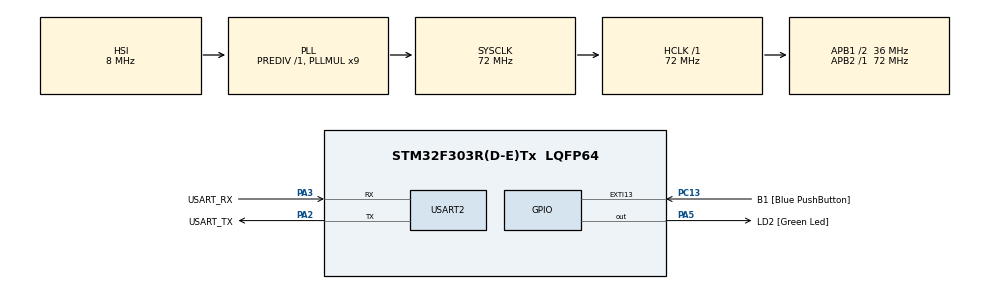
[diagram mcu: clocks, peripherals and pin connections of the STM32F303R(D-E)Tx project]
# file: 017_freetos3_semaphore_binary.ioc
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Mcu.Family=STM32F3
PC15-OSC32_OUT.Mode=LSE-External-Oscillator
PA2.GPIO_PuPd=GPIO_NOPULL
RCC.CortexFreq_Value=72000000
FREERTOS.Tasks01=normal,0,128,StartDefaultTask,Default,NULL,Dynamic,NULL,NULL;high,2,128,StartTask02,Default,NULL,Dynamic,NULL,NULL;low,-2,128,StartTask03,Default,NULL,Dynamic,NULL,NULL
FREERTOS.BinarySemaphores01=myBinarySem01,Dynamic,NULL
PC13.Signal=GPXTI13
PA14.GPIO_Label=TCK
RCC.SYSCLKSourceVirtual=RCC_SYSCLKSOURCE_PLLCLK
PA3.GPIO_PuPd=GPIO_NOPULL
PA2.GPIO_Speed=GPIO_SPEED_FREQ_LOW
PC13.GPIO_Label=B1 [Blue PushButton]
RCC.APB1CLKDivider=RCC_HCLK_DIV2
PC14-OSC32_IN.Signal=RCC_OSC32_IN
PA3.GPIO_Speed=GPIO_SPEED_FREQ_LOW
ProjectManager.StackSize=0x400
PA13.Signal=SYS_JTMS-SWDIO
PA3.Mode=Asynchronous
ProjectManager.TargetToolchain=STM32CubeIDE
PA3.GPIO_Mode=GPIO_MODE_AF_PP
RCC.HCLKFreq_Value=72000000
RCC.APB2TimFreq_Value=72000000
RCC.USBFreq_Value=72000000
PC15-OSC32_OUT.Signal=RCC_OSC32_OUT
RCC.AHBFreq_Value=72000000
PF0-OSC_IN.Mode=HSE-External-Oscillator
PA5.Signal=GPIO_Output
RCC.HSE_VALUE=8000000
board=NUCLEO-F303RE
USART2.VirtualMode-Asynchronous=VM_ASYNC
RCC.RCC_PLLsource_Clock_Source_FROM_HSE=RCC_HSE_PREDIV_DIV2
RCC.PLLMUL=RCC_PLL_MUL9
RCC.APB2Freq_Value=72000000
PC14-OSC32_IN.Mode=LSE-External-Oscillator
VP_SYS_VS_tim1.Mode=TIM1
PA5.GPIO_PuPd=GPIO_NOPULL
VP_FREERTOS_VS_CMSIS_V1.Mode=CMSIS_V1
Mcu.Name=STM32F303R(D-E)Tx
PA2.Signal=USART2_TX
PA13.GPIO_Label=TMS
PB3.Signal=SYS_JTDO-TRACESWO
RCC.SYSCLKFreq_VALUE=72000000
Mcu.Package=LQFP64
NVIC.TimeBase=TIM1_UP_TIM16_IRQn
PA5.GPIO_Label=LD2 [Green Led]
PC13.GPIO_ModeDefaultEXTI=GPIO_MODE_IT_FALLING
PA2.GPIO_Label=USART_TX
NVIC.TimeBaseIP=TIM1
PA14.Signal=SYS_JTCK-SWCLK
ProjectManager.HeapSize=0x200
RCC.HSI_VALUE=8000000
NVIC.TIM1_UP_TIM16_IRQn=true\:0\:0\:false\:false\:true\:false\:false\:true
RCC.PLLP=RCC_PLLP_DIV4
PA5.GPIO_Speed=GPIO_SPEED_FREQ_LOW
RCC.PLLQ=7
NVIC.PriorityGroup=NVIC_PRIORITYGROUP_4
RCC.PLLM=8
RCC.PLLN=336
RCC.APB1TimFreq_Value=72000000
PA2.Mode=Asynchronous
PF0-OSC_IN.Signal=RCC_OSC_IN
PF1-OSC_OUT.Mode=HSE-External-Oscillator
RCC.APB1Freq_Value=36000000
PA5.GPIO_Mode=GPIO_MODE_OUTPUT_PP
PF1-OSC_OUT.Signal=RCC_OSC_OUT
PA3.GPIO_Label=USART_RX
PA3.Signal=USART2_RX
PA2.GPIO_Mode=GPIO_MODE_AF_PP
PB3.GPIO_Label=SWO

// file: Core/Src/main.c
/*Açıklama:
  high task ta semophara girdi çıktı sonra medium da ki semaphoru başlattı ama
  semaphore bitmediği için high görevini devam ettirmedi butona bastırdığımızda
  semaphoru durduracak ve görev devam edicek*/

/* USER CODE BEGIN Header */
/**
  ******************************************************************************
  * @file           : main.c
  * @brief          : Main program body
  ******************************************************************************
  * @attention
  *
  * <h2><center>&copy; Copyright (c) 2021 STMicroelectronics.
  * All rights reserved.</center></h2>
  *
  * This software component is licensed by ST under BSD 3-Clause license,
  * the "License"; You may not use this file except in compliance with the
  * License. You may obtain a copy of the License at:
  *                        opensource.org/licenses/BSD-3-Clause
  *
  ******************************************************************************
  */
/* USER CODE END Header */
#include "main.h"
#include "cmsis_os.h"

UART_HandleTypeDef huart2;

osThreadId normalHandle;
osThreadId highHandle;
osThreadId lowHandle;
osSemaphoreId myBinarySem01Handle;

void SystemClock_Config(void);
static void MX_GPIO_Init(void);
static void MX_USART2_UART_Init(void);
void StartDefaultTask(void const * argument);
void StartTask02(void const * argument);
void StartTask03(void const * argument);

int main(void)
{

  /* MCU Configuration--------------------------------------------------------*/

  /* Reset of all peripherals, Initializes the Flash interface and the Systick. */
  HAL_Init();

  /* Configure the system clock */
  SystemClock_Config();

  /* Initialize all configured peripherals */
  MX_GPIO_Init();
  MX_USART2_UART_Init();

  /* Create the semaphores(s) */
  /* definition and creation of myBinarySem01 */
  osSemaphoreDef(myBinarySem01);
  myBinarySem01Handle = osSemaphoreCreate(osSemaphore(myBinarySem01), 1);

  /* Create the thread(s) */
  /* definition and creation of normal */
  osThreadDef(normal, StartDefaultTask, osPriorityNormal, 0, 128);
  normalHandle = osThreadCreate(osThread(normal), NULL);

  /* definition and creation of high */
  osThreadDef(high, StartTask02, osPriorityHigh, 0, 128);
  highHandle = osThreadCreate(osThread(high), NULL);

  /* definition and creation of low */
  osThreadDef(low, StartTask03, osPriorityLow, 0, 128);
  lowHandle = osThreadCreate(osThread(low), NULL);

  /* Start scheduler */
  osKernelStart();

  /* We should never get here as control is now taken by the scheduler */
  /* Infinite loop */
  while (1)
  {

  }
}

void SystemClock_Config(void)
{
  RCC_OscInitTypeDef RCC_OscInitStruct = {0};
  RCC_ClkInitTypeDef RCC_ClkInitStruct = {0};
  RCC_PeriphCLKInitTypeDef PeriphClkInit = {0};

  /** Initializes the RCC Oscillators according to the specified parameters
  * in the RCC_OscInitTypeDef structure.
  */
  RCC_OscInitStruct.OscillatorType = RCC_OSCILLATORTYPE_HSI;
  RCC_OscInitStruct.HSIState = RCC_HSI_ON;
  RCC_OscInitStruct.HSICalibrationValue = RCC_HSICALIBRATION_DEFAULT;
  RCC_OscInitStruct.PLL.PLLState = RCC_PLL_ON;
  RCC_OscInitStruct.PLL.PLLSource = RCC_PLLSOURCE_HSI;
  RCC_OscInitStruct.PLL.PLLMUL = RCC_PLL_MUL9;
  RCC_OscInitStruct.PLL.PREDIV = RCC_PREDIV_DIV1;
  if (HAL_RCC_OscConfig(&RCC_OscInitStruct) != HAL_OK)
  {
    Error_Handler();
  }
  /** Initializes the CPU, AHB and APB buses clocks
  */
  RCC_ClkInitStruct.ClockType = RCC_CLOCKTYPE_HCLK|RCC_CLOCKTYPE_SYSCLK
                              |RCC_CLOCKTYPE_PCLK1|RCC_CLOCKTYPE_PCLK2;
  RCC_ClkInitStruct.SYSCLKSource = RCC_SYSCLKSOURCE_PLLCLK;
  RCC_ClkInitStruct.AHBCLKDivider = RCC_SYSCLK_DIV1;
  RCC_ClkInitStruct.APB1CLKDivider = RCC_HCLK_DIV2;
  RCC_ClkInitStruct.APB2CLKDivider = RCC_HCLK_DIV1;

  if (HAL_RCC_ClockConfig(&RCC_ClkInitStruct, FLASH_LATENCY_2) != HAL_OK)
  {
    Error_Handler();
  }
  PeriphClkInit.PeriphClockSelection = RCC_PERIPHCLK_USART2;
  PeriphClkInit.Usart2ClockSelection = RCC_USART2CLKSOURCE_PCLK1;
  if (HAL_RCCEx_PeriphCLKConfig(&PeriphClkInit) != HAL_OK)
  {
    Error_Handler();
  }
}

static void MX_USART2_UART_Init(void)
{

  huart2.Instance = USART2;
  huart2.Init.BaudRate = 38400;
  huart2.Init.WordLength = UART_WORDLENGTH_8B;
  huart2.Init.StopBits = UART_STOPBITS_1;
  huart2.Init.Parity = UART_PARITY_NONE;
  huart2.Init.Mode = UART_MODE_TX_RX;
  huart2.Init.HwFlowCtl = UART_HWCONTROL_NONE;
  huart2.Init.OverSampling = UART_OVERSAMPLING_16;
  huart2.Init.OneBitSampling = UART_ONE_BIT_SAMPLE_DISABLE;
  huart2.AdvancedInit.AdvFeatureInit = UART_ADVFEATURE_NO_INIT;
  if (HAL_UART_Init(&huart2) != HAL_OK)
  {
    Error_Handler();
  }

}

static void MX_GPIO_Init(void)
{
  GPIO_InitTypeDef GPIO_InitStruct = {0};

  /* GPIO Ports Clock Enable */
  __HAL_RCC_GPIOC_CLK_ENABLE();
  __HAL_RCC_GPIOF_CLK_ENABLE();
  __HAL_RCC_GPIOA_CLK_ENABLE();
  __HAL_RCC_GPIOB_CLK_ENABLE();

  /*Configure GPIO pin Output Level */
  HAL_GPIO_WritePin(LD2_GPIO_Port, LD2_Pin, GPIO_PIN_RESET);

  /*Configure GPIO pin : B1_Pin */
  GPIO_InitStruct.Pin = B1_Pin;
  GPIO_InitStruct.Mode = GPIO_MODE_IT_FALLING;
  GPIO_InitStruct.Pull = GPIO_NOPULL;
  HAL_GPIO_Init(B1_GPIO_Port, &GPIO_InitStruct);

  /*Configure GPIO pin : LD2_Pin */
  GPIO_InitStruct.Pin = LD2_Pin;
  GPIO_InitStruct.Mode = GPIO_MODE_OUTPUT_PP;
  GPIO_InitStruct.Pull = GPIO_NOPULL;
  GPIO_InitStruct.Speed = GPIO_SPEED_FREQ_LOW;
  HAL_GPIO_Init(LD2_GPIO_Port, &GPIO_InitStruct);

}

void StartDefaultTask(void const * argument)
{
  /* USER CODE BEGIN 5 */
  /* Infinite loop */
  for(;;)
  {
		char *str1 = "Entered MediumTask\n";
		HAL_UART_Transmit(&huart2, (uint8_t *) str1, strlen (str1), 100);

		char *str2 = "Leaving MediumTask\n\n";
		HAL_UART_Transmit(&huart2, (uint8_t *) str2, strlen (str2), 100);
		osDelay(500);
  }
  /* USER CODE END 5 */
}

void StartTask02(void const * argument)
{
  /* USER CODE BEGIN StartTask02 */
  /* Infinite loop */
  for(;;)
  {
		char *str1 = "Entered HighTask and waiting for Semaphore\n";
		HAL_UART_Transmit(&huart2, (uint8_t *) str1, strlen (str1), 100);

		osSemaphoreWait( myBinarySem01Handle, osWaitForever);

		char *str3 = "Semaphore acquired by HIGH Task\n";
		HAL_UART_Transmit(&huart2, (uint8_t *) str3, strlen (str3), 100);

		char *str2 = "Leaving HighTask and releasing Semaphore\n\n";
		HAL_UART_Transmit(&huart2, (uint8_t *) str2, strlen (str2), 100);

		osSemaphoreRelease( myBinarySem01Handle);
	    osDelay(500);
  }
  /* USER CODE END StartTask02 */
}

void StartTask03(void const * argument)
{
  /* USER CODE BEGIN StartTask03 */
  /* Infinite loop */
  for(;;)
  {
		char *str1 = "Entered LOWTask and waiting for semaphore\n";
		HAL_UART_Transmit(&huart2, (uint8_t *) str1, strlen (str1), 100);

		osSemaphoreWait( myBinarySem01Handle, osWaitForever);
		char *str3 = "Semaphore acquired by LOW Task\n";
		HAL_UART_Transmit(&huart2, (uint8_t *) str3, strlen (str3), 100);

		while (HAL_GPIO_ReadPin(GPIOC, GPIO_PIN_13));  // wait till the pin go low

		char *str2 = "Leaving LOWTask and releasing Semaphore\n\n";
		HAL_UART_Transmit(&huart2, (uint8_t *) str2, strlen (str2), 100);

		osSemaphoreRelease( myBinarySem01Handle);
		osDelay(500);
  }
  /* USER CODE END StartTask03 */
}

 /**
  * @brief  Period elapsed callback in non blocking mode
  * @note   This function is called  when TIM1 interrupt took place, inside
  * HAL_TIM_IRQHandler(). It makes a direct call to HAL_IncTick() to increment
  * a global variable "uwTick" used as application time base.
  * @param  htim : TIM handle
  * @retval None
  */
void HAL_TIM_PeriodElapsedCallback(TIM_HandleTypeDef *htim)
{
  if (htim->Instance == TIM1) {
    HAL_IncTick();
  }
}

void Error_Handler(void)
{
  __disable_irq();
  while (1)
  {
  }
}

/************************ (C) COPYRIGHT STMicroelectronics *****END OF FILE****/
